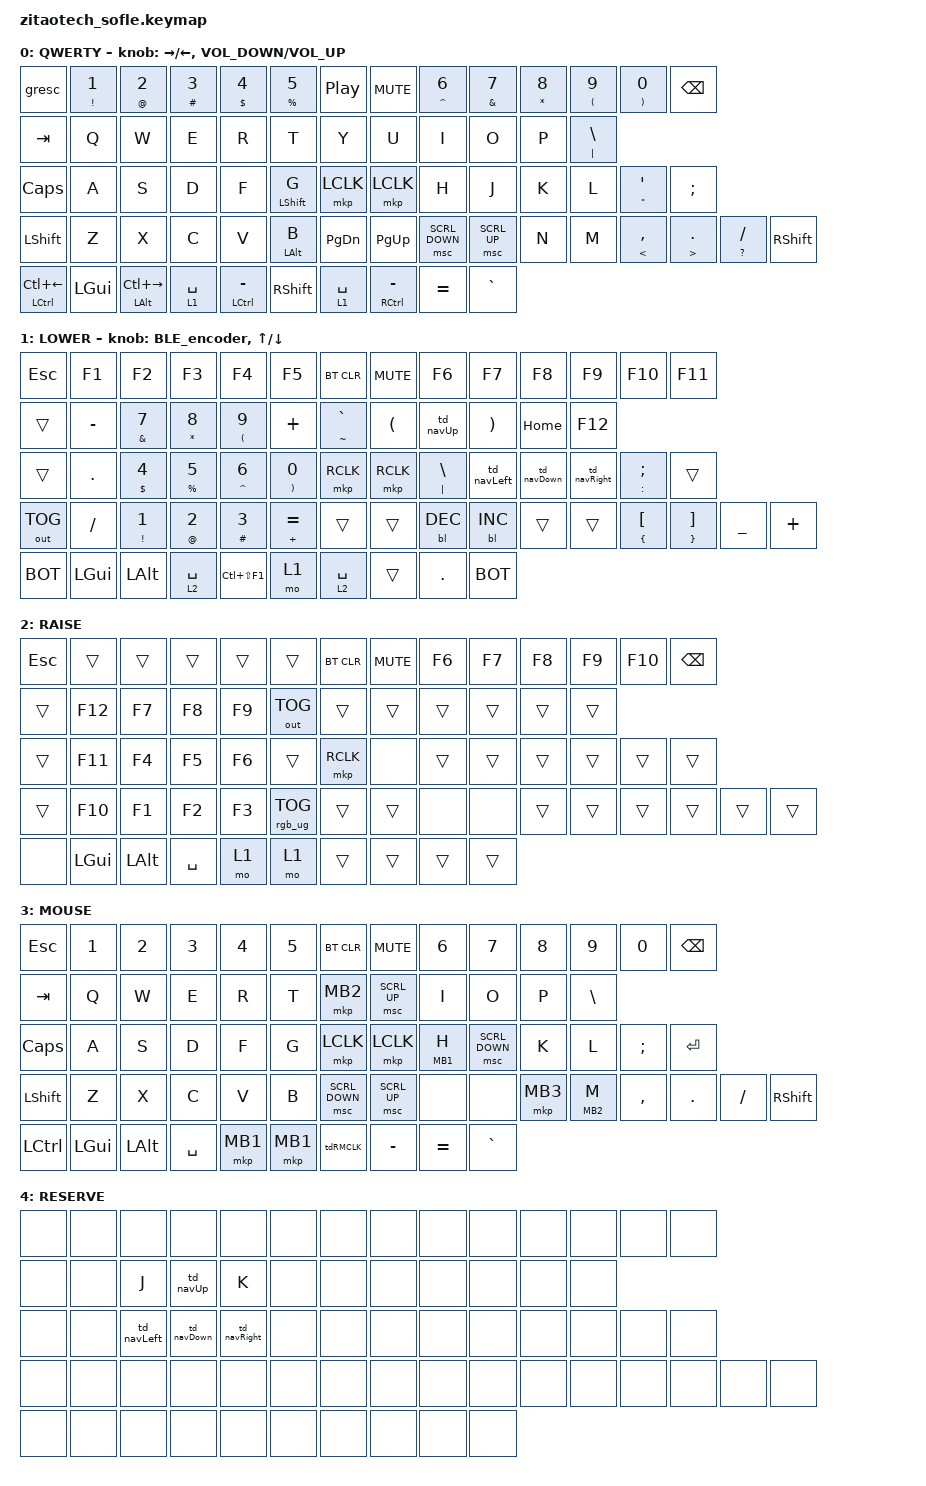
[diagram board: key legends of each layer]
/*
 * Copyright (c) 2025 ZitaoTech
 *
 * SPDX-License-Identifier: MIT
 */

#include <dt-bindings/zmk/mouse.h>
#include <behaviors.dtsi>
#include <dt-bindings/zmk/backlight.h>
#include <dt-bindings/zmk/bt.h>
#include <dt-bindings/zmk/keys.h>
#include <dt-bindings/zmk/outputs.h>
#include <dt-bindings/zmk/pointing.h>
#include <dt-bindings/zmk/rgb.h>

#define FUNC 1
#define RES 2
#define BOT bootloader

/ {
    input_processors {
        zip_temp_layer: zip_temp_layer {
            compatible = "zmk,input-processor-temp-layer";
            #input-processor-cells = <2>;
        };

        ip_behaviors0: ip_behaviors0 {
            compatible = "zmk,input-processor-behaviors";
            #input-processor-cells = <0>;
            type = <INPUT_EV_KEY>;
            codes = <INPUT_BTN_0>;
            bindings = <&kp RIGHT>;
        };

        ip_behaviors1: ip_behaviors1 {
            compatible = "zmk,input-processor-behaviors";
            #input-processor-cells = <0>;
            type = <INPUT_EV_KEY>;
            codes = <INPUT_BTN_1>;
            bindings = <&kp LEFT>;
        };

        ip_behaviors2: ip_behaviors2 {
            compatible = "zmk,input-processor-behaviors";
            #input-processor-cells = <0>;
            type = <INPUT_EV_KEY>;
            codes = <INPUT_BTN_2>;
            bindings = <&kp DOWN>;
        };

        ip_behaviors3: ip_behaviors3 {
            compatible = "zmk,input-processor-behaviors";
            #input-processor-cells = <0>;
            type = <INPUT_EV_KEY>;
            codes = <INPUT_BTN_3>;
            bindings = <&kp UP>;
        };
    };
};

/ {
    behaviors {
        td0: tap_dance_0 {
            compatible = "zmk,behavior-tap-dance";
            #binding-cells = <0>;
            tapping-term-ms = <400>;
            bindings = <&mkp LCLK>, <&bt BT_CLR>;
        };
    };

    behaviors {
        tdRMCLK: tap_dance_R_LMouse {
            compatible = "zmk,behavior-tap-dance";
            #binding-cells = <0>;
            tapping-term-ms = <400>;
            bindings = <&mkp RCLK>, <&mkp MCLK>;
        };
    };

    behaviors {
        hm: homerow_mods {
            compatible = "zmk,behavior-hold-tap";
            #binding-cells = <2>;
            tapping-term-ms = <500>;
            bindings = <&kp &kp>;
        };
    };

    behaviors {
        sp_sc: behavior_spacescroll {
            compatible = "zmk,behavior-hold-tap";
            #binding-cells = <2>;
            flavor = "tap-preferred";     /* 单击优先 */
            tapping-term-ms = <200>;       /* 长按阈值 */
            bindings = <&none &kp>;        /* hold=none, tap=space */
        };
    };

    behaviors {
        LMouse_sc: behavior_LMouse_Scroll {
            compatible = "zmk,behavior-hold-tap";
            #binding-cells = <2>;
            flavor = "tap-preferred";     /* 单击优先 */
            tapping-term-ms = <200>;       /* 长按阈值 */
            bindings = <&none &mkp>;        /* hold=none, tap=Lmouse */
        };
    };

    behaviors {
        M_kp: behavior_mouse_keypress {
            compatible = "zmk,behavior-hold-tap";
            #binding-cells = <2>;
            flavor = "tap-preferred";     /* 单击优先 */
            tapping-term-ms = <200>;       /* 长按阈值 */
            bindings = <&mkp &kp>;        /* hold=mou key press, tap=key*/
        };
    };

    behaviors {
        BLE_encoder: BLE_encoder {
            compatible = "zmk,behavior-sensor-rotate";
            #sensor-binding-cells = <0>;
            bindings = <&bt BT_NXT>, <&bt BT_PRV>;
        };

        mt250ms: mt250ms {
            compatible = "zmk,behavior-hold-tap";
            label = "MT250MS";
            bindings = <&kp>, <&kp>;

            #binding-cells = <2>;
            tapping-term-ms = <250>;
            flavor = "tap-preferred";
        };

        td_navLeft: td_navLeft {
            compatible = "zmk,behavior-tap-dance";
            label = "TD_NAVLEFT";
            #binding-cells = <0>;
            bindings = <&mt135ms LC(LEFT) LEFT>, <&mt245ms HOME LEFT>;

            tapping-term-ms = <120>;
        };

        tapHold: tapHold {
            compatible = "zmk,behavior-hold-tap";
            label = "TAPHOLD";
            bindings = <&kp>, <&none>;

            #binding-cells = <2>;
            tapping-term-ms = <200>;
            flavor = "hold-preferred";
        };

        td_navRight: td_navRight {
            compatible = "zmk,behavior-tap-dance";
            label = "TD_NAVRIGHT";
            #binding-cells = <0>;
            bindings = <&mt135ms LC(RIGHT) RIGHT>, <&mt245ms END RIGHT>;

            tapping-term-ms = <120>;
        };

        td_navUp: td_navUp {
            compatible = "zmk,behavior-tap-dance";
            label = "TD_NAVUP";
            #binding-cells = <0>;
            bindings = <&kp UP_ARROW>, <&mt245ms LC(UP_ARROW) PAGE_UP>;

            tapping-term-ms = <120>;
        };

        td_navDown: td_navDown {
            compatible = "zmk,behavior-tap-dance";
            label = "TD_NAVDOWN";
            #binding-cells = <0>;
            bindings = <&mt135ms RIGHT_ALT DOWN>, <&mt245ms LC(DOWN) PAGE_DOWN>;

            tapping-term-ms = <120>;
        };

        mt245ms: mt245ms {
            compatible = "zmk,behavior-hold-tap";
            label = "MT245MS";
            bindings = <&kp>, <&kp>;

            #binding-cells = <2>;
            tapping-term-ms = <245>;
            flavor = "tap-preferred";
        };

        mt135ms: mt135ms {
            compatible = "zmk,behavior-hold-tap";
            label = "MT135MS";
            bindings = <&kp>, <&kp>;

            #binding-cells = <2>;
            tapping-term-ms = <135>;
            flavor = "tap-preferred";
        };

        mk_mt180ms: mk_mt180ms {
            compatible = "zmk,behavior-hold-tap";
            label = "MK_MT180MS";
            bindings = <&mkp>, <&mkp>;

            #binding-cells = <2>;
            tapping-term-ms = <180>;
            flavor = "tap-preferred";
        };

        mkp_mt200ms: behavior_mouse_modtap {
            compatible = "zmk,behavior-hold-tap";
            #binding-cells = <2>;
            flavor = "tap-preferred";
            tapping-term-ms = <200>;
            bindings = <&mkp>, <&mkp>;
        };
    };

    combos {
        compatible = "zmk,combos";

        semicolon {
            bindings = <&mt245ms COLON SEMI>;
            key-positions = <52 53>;
            timeout-ms = <80>;
            layers = <0>;
        };

        leftShift {
            bindings = <&kp LSHIFT>;
            key-positions = <30 59>;
            timeout-ms = <250>;
            layers = <0>;
            slow-release;
        };

        bkspRight {
            bindings = <&kp BACKSPACE>;
            key-positions = <36 35>;
            timeout-ms = <80>;
            slow-release;
            layers = <0>;
        };

        deleteRight {
            bindings = <&kp DEL>;
            key-positions = <36 37>;
            timeout-ms = <80>;
            slow-release;
            layers = <0>;
        };

        rightShift {
            bindings = <&kp RIGHT_SHIFT>;
            key-positions = <62 35>;
            timeout-ms = <80>;
            slow-release;
            layers = <0>;
        };

        doubleQuote {
            bindings = <&kp DOUBLE_QUOTES>;
            key-positions = <37 38>;
            timeout-ms = <50>;
            layers = <0>;
        };

        LCS {
            bindings = <&sk LC(LEFT_SHIFT)>;
            key-positions = <59 41 28>;
            layers = <0>;
            timeout-ms = <50>;
        };

        LGS {
            bindings = <&sk LG(LEFT_SHIFT)>;
            key-positions = <59 43 28>;
            layers = <0>;
            timeout-ms = <50>;
        };

        enterRight {
            bindings = <&kp ENTER>;
            key-positions = <62 50 51>;
            timeout-ms = <50>;
            layers = <0>;
        };

        enterLeft {
            bindings = <&kp ENTER>;
            key-positions = <44 45 59>;
            timeout-ms = <50>;
            layers = <0>;
        };

        bkspLeft {
            bindings = <&kp BACKSPACE>;
            key-positions = <28 29>;
            timeout-ms = <50>;
            layers = <0>;
        };

        deleteLeft {
            bindings = <&kp DEL>;
            key-positions = <30 29>;
            timeout-ms = <50>;
            layers = <0>;
        };

        oLeft {
            bindings = <&kp O>;
            key-positions = <28 30>;
            timeout-ms = <50>;
            layers = <0>;
        };

        qTab {
            bindings = <&kp TAB>;
            key-positions = <15 16>;
            timeout-ms = <50>;
            layers = <0>;
        };

        fTab {
            bindings = <&kp TAB>;
            key-positions = <30 31>;
            timeout-ms = <50>;
            layers = <0>;
        };

        layer4 {
            bindings = <&mo 4>;
            key-positions = <29 59>;
            timeout-ms = <60>;
            slow-release;
            layers = <0>;
        };

        layer2 {
            bindings = <&mo 2>;
            key-positions = <17 59>;
            timeout-ms = <60>;
            slow-release;
            layers = <0>;
        };
    };

    keymap {
        compatible = "zmk,keymap";

        default_layer {
            display-name = "QWERTY";
            bindings = <
&gresc              &mt245ms EXCL N1  &mt245ms AT_SIGN N2  &mt245ms HASH N3  &mt245ms DOLLAR N4      &mt245ms PERCENT N5    &kp C_PLAY_PAUSE  &kp C_MUTE               &mt245ms CARET N6  &mt245ms AMPERSAND N7  &mt245ms ASTERISK N8  &mt245ms LEFT_PARENTHESIS N9  &mt245ms RIGHT_PARENTHESIS N0  &kp BSPC
&kp TAB             &kp Q             &kp W                &kp E             &kp R                   &kp T                  &kp Y             &kp U                    &kp I              &kp O                  &kp P                 &mt245ms PIPE BSLH
&kp CAPS            &kp A             &kp S                &kp D             &kp F                   &mt245ms LEFT_SHIFT G  &mkp LCLK         &mkp LCLK                &kp H              &kp J                  &kp K                 &kp L                         &mt245ms DOUBLE_QUOTES APOS    &kp SEMI
&kp LSHFT           &kp Z             &kp X                &kp C             &kp V                   &mt245ms LEFT_ALT B    &kp PG_DN         &kp PG_UP                &msc SCRL_DOWN     &msc SCRL_UP           &kp N                 &kp M                         &mt245ms LESS_THAN COMMA       &mt245ms GREATER_THAN PERIOD  &mt245ms QUESTION FSLH  &kp RSHIFT
&mt LCTRL LC(LEFT)  &kp LGUI          &mt LALT LC(RIGHT)   &lt 1 SPACE       &mt LEFT_CONTROL MINUS  &kp RIGHT_SHIFT        &lt 1 SPACE       &mt RIGHT_CONTROL MINUS  &kp EQUAL          &kp GRAVE
            >;

            sensor-bindings =
                <&inc_dec_kp RIGHT LEFT>,
                <&inc_dec_kp C_VOLUME_DOWN C_VOLUME_UP>;
        };

        lower_layer {
            display-name = "LOWER";
            bindings = <
&kp ESC       &kp F1      &kp F2                  &kp F3                     &kp F4                        &kp F5                         &bt BT_CLR            &kp C_MUTE            &kp F6              &kp F7                 &kp F8       &kp F9        &kp F10                           &kp F11
&trans        &kp MINUS   &mt245ms AMPERSAND N7   &mt245ms ASTERISK N8       &mt245ms LEFT_PARENTHESIS N9  &kp PLUS                       &mt245ms TILDE GRAVE  &kp LEFT_PARENTHESIS  &td_navUp           &kp RIGHT_PARENTHESIS  &kp HOME     &kp F12
&trans        &kp PERIOD  &mt245ms DOLLAR N4      &mt245ms PERCENT N5        &mt245ms CARET N6             &mt245ms RIGHT_PARENTHESIS N0  &mkp RCLK             &mkp RCLK             &mt245ms PIPE BSLH  &td_navLeft            &td_navDown  &td_navRight  &mt245ms COLON SEMI               &trans
&out OUT_TOG  &kp SLASH   &mt245ms EXCL NUMBER_1  &mt245ms AT_SIGN NUMBER_2  &mt245ms HASH N3              &mt245ms PLUS EQUAL            &trans                &trans                &bl BL_DEC          &bl BL_INC             &trans       &trans        &mt245ms LEFT_BRACE LEFT_BRACKET  &mt245ms RIGHT_BRACE RIGHT_BRACKET  &kp UNDER  &kp PLUS
&BOT          &kp LGUI    &kp LALT                &lt 2 SPACE                &kp LC(LS(F1))                &mo 1                          &lt 2 SPACE           &trans                &kp DOT             &BOT
            >;

            sensor-bindings = <&BLE_encoder &inc_dec_kp UP DOWN>;
        };

        raise_layer {
            display-name = "RAISE";
            bindings = <
&kp ESC  &trans    &trans    &trans     &trans  &trans           &bt BT_CLR  &kp C_MUTE  &kp F6  &kp F7  &kp F8  &kp F9  &kp F10  &kp BSPC
&trans   &kp F12   &kp F7    &kp F8     &kp F9  &out OUT_TOG     &trans      &trans      &trans  &trans  &trans  &trans
&trans   &kp F11   &kp F4    &kp F5     &kp F6  &trans           &mkp RCLK   &none       &trans  &trans  &trans  &trans  &trans   &trans
&trans   &kp F10   &kp F1    &kp F2     &kp F3  &rgb_ug RGB_TOG  &trans      &trans      &none   &none   &trans  &trans  &trans   &trans    &trans  &trans
&none    &kp LGUI  &kp LALT  &kp SPACE  &mo 1   &mo 1            &trans      &trans      &trans  &trans
            >;
        };

        MOUSE_layer {
            display-name = "MOUSE";
            bindings = <
&kp ESC    &kp N1    &kp N2    &kp N3     &kp N4    &kp N5    &bt BT_CLR      &kp C_MUTE    &kp N6       &kp N7          &kp N8    &kp N9       &kp N0     &kp BSPC
&kp TAB    &kp Q     &kp W     &kp E      &kp R     &kp T     &mkp MB2        &msc SCRL_UP  &kp I        &kp O           &kp P     &kp BSLH
&kp CAPS   &kp A     &kp S     &kp D      &kp F     &kp G     &mkp LCLK       &mkp LCLK     &M_kp MB1 H  &msc SCRL_DOWN  &kp K     &kp L        &kp SEMI   &kp ENTER
&kp LSHFT  &kp Z     &kp X     &kp C      &kp V     &kp B     &msc SCRL_DOWN  &msc SCRL_UP  &none        &none           &mkp MB3  &M_kp MB2 M  &kp COMMA  &kp DOT    &kp FSLH  &kp RSHIFT
&kp LCTRL  &kp LGUI  &kp LALT  &kp SPACE  &mkp MB1  &mkp MB1  &tdRMCLK        &kp MINUS     &kp EQUAL    &kp GRAVE
            >;
        };

        RES_layer {
            display-name = "RESERVE";
            bindings = <
&none  &none  &none        &none        &none         &none  &none  &none  &none  &none  &none  &none  &none  &none
&none  &none  &kp J        &td_navUp    &kp K         &none  &none  &none  &none  &none  &none  &none
&none  &none  &td_navLeft  &td_navDown  &td_navRight  &none  &none  &none  &none  &none  &none  &none  &none  &none
&none  &none  &none        &none        &none         &none  &none  &none  &none  &none  &none  &none  &none  &none  &none  &none
&none  &none  &none        &none        &none         &none  &none  &none  &none  &none
            >;
        };
    };
};
